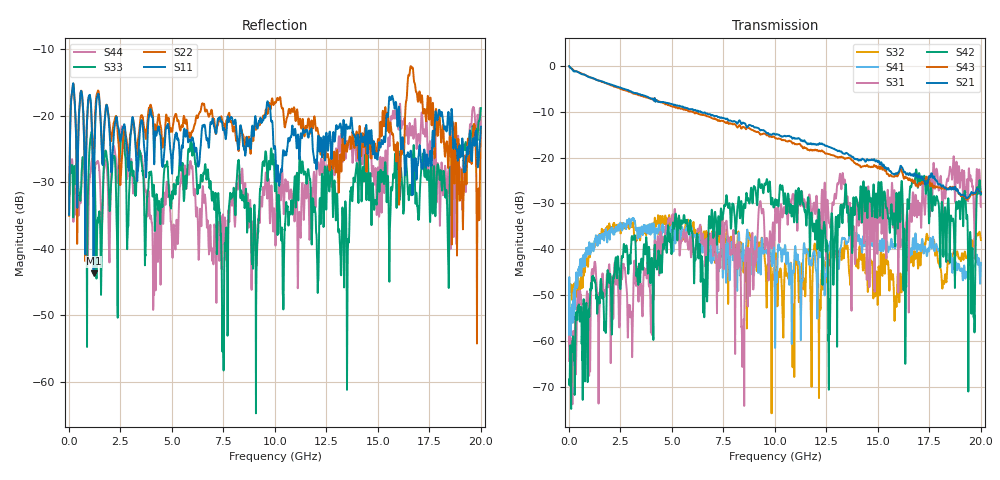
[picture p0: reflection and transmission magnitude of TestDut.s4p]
! C:\Users\peter.pupalaikis\Desktop\ESE2DIL\SE2DILII\TestCase\DUTMM.s4p
! Fri Feb 03 15:57:13 2012
! freq S11 S12 S13 S14
! S21 S22 S23 S24
! S31 S32 S33 S34
! S41 S42 S43 S44
# MHz S MA R 50.00
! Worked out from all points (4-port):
!   2000 points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, 10 MHz to 20 GHz, reference 50 ohm
!   strongest paths, dB at 10 MHz, 5.01 GHz, 10.01 GHz, 15.01 GHz, 20 GHz:
!     S21: -0.1, -8.3, -15.0, -20.9, -27.8
!     S43: -0.1, -8.8, -15.7, -22.3, -27.5
!     S42: -68.4, -39.9, -29.2, -26.9, -27.7
!     S31: -64.4, -32.8, -31.7, -32.8, -30.7
!     S41: -55.7, -34.6, -61.5, -38.9, -43.0
!     S32: -51.0, -34.2, -45.2, -46.8, -38.0
!   lowest |S11| = -43.7 dB at 1.2 GHz (marker M1), VSWR 1.01, Z = 50.5 - j0.458 ohm
!   |S11| at or under -10 dB: start of sweep to end of sweep
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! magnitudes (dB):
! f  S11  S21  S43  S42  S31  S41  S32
! 10 MHz  -34.9  -0.1  -0.1  -68.4  -64.4  -55.7  -51.0
! 1.2 GHz  -43.7  -2.7  -2.8  -46.9  -45.2  -39.6  -38.7
! 7.5 GHz  -22.1  -11.4  -12.1  -32.1  -42.4  -43.2  -38.7
! 12.61 GHz  -23.5  -17.7  -19.2  -65.2  -33.3  -40.1  -41.5
! 16.93 GHz  -27.3  -24.2  -26.3  -26.3  -29.9  -39.0  -42.6
! 19.63 GHz  -23.6  -27.9  -28.1  -51.1  -27.6  -44.2  -39.3
! 20 GHz  -21.7  -27.8  -27.5  -27.7  -30.7  -43.0  -38.0
